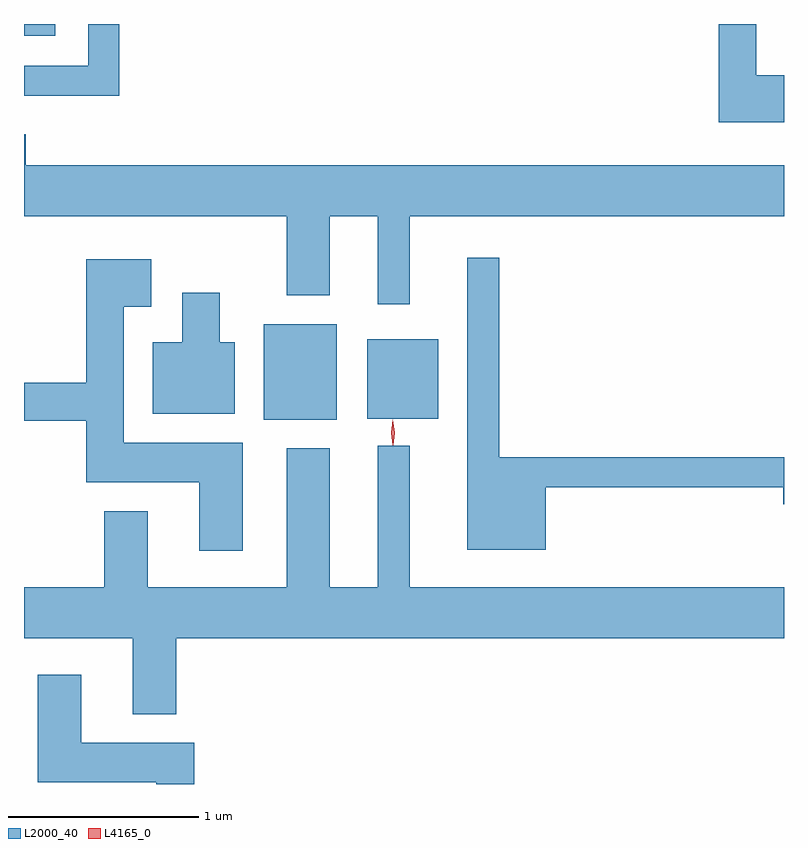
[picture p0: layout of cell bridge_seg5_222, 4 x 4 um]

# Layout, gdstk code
import gdstk
lib = gdstk.Library(unit=1e-6, precision=1e-09)
def R(c, l, rs):  # rectangles x0, y0, x1, y1
    for r in rs: c.add(gdstk.rectangle(r[:2], r[2:], *l))
def P(c, l, *ps):  # polygons
    for p in ps: c.add(gdstk.Polygon(p, *l))
L2000_40 = (2000, 40)
L4165_0 = (4165, 0)

bridge_seg5_222 = lib.new_cell('bridge_seg5_222')
R(bridge_seg5_222, L2000_40, [(1249.641,1400.226,1250.024,1400.729), (1250.186,1400.231,1250.559,1400.649), (1248.379,1402.246,1248.544,1402.308)])
P(bridge_seg5_222, L2000_40, [(1248.879,1402.308),(1248.716,1402.308),(1248.716,1402.089),(1248.379,1402.089),(1248.379,1401.931),(1248.879,1401.931)],
  [(1252.379,1402.039),(1252.234,1402.039),(1252.234,1402.308),(1252.036,1402.308),(1252.036,1401.791),(1252.379,1401.791)],
  [(1250.409,1401.296),(1252.379,1401.296),(1252.379,1401.564),(1248.389,1401.564),(1248.389,1401.729),(1248.379,1401.729),(1248.379,1401.296),(1249.761,1401.296),(1249.761,1400.881),(1249.989,1400.881),(1249.989,1401.296),(1250.241,1401.296),(1250.241,1400.833),(1250.409,1400.833)],
  [(1251.124,1399.871),(1252.376,1399.871),(1252.376,1399.781),(1252.379,1399.781),(1252.379,1400.029),(1250.879,1400.029),(1250.879,1401.078),(1250.711,1401.078),(1250.711,1399.541),(1251.124,1399.541)],
  [(1249.529,1400.104),(1248.904,1400.104),(1248.904,1400.821),(1249.049,1400.821),(1249.049,1401.069),(1248.706,1401.069),(1248.706,1400.419),(1248.379,1400.419),(1248.379,1400.221),(1248.706,1400.221),(1248.706,1399.896),(1249.301,1399.896),(1249.301,1399.536),(1249.529,1399.536)],
  [(1249.489,1400.634),(1249.409,1400.634),(1249.409,1400.894),(1249.211,1400.894),(1249.211,1400.634),(1249.056,1400.634),(1249.056,1400.256),(1249.489,1400.256)],
  [(1249.179,1399.076),(1252.379,1399.076),(1252.379,1399.344),(1250.409,1399.344),(1250.409,1400.088),(1250.241,1400.088),(1250.241,1399.344),(1249.989,1399.344),(1249.989,1400.074),(1249.761,1400.074),(1249.761,1399.344),(1249.029,1399.344),(1249.029,1399.744),(1248.801,1399.744),(1248.801,1399.344),(1248.379,1399.344),(1248.379,1399.076),(1248.951,1399.076),(1248.951,1398.676),(1249.179,1398.676)],
  [(1249.274,1398.524),(1248.679,1398.524),(1248.679,1398.884),(1248.451,1398.884),(1248.451,1398.316),(1249.076,1398.316),(1249.076,1398.308),(1249.274,1398.308)])
P(bridge_seg5_222, L4165_0, [(1250.321,1400.093),(1250.321,1400.093),(1250.311,1400.157),(1250.32,1400.221),(1250.321,1400.222),(1250.321,1400.221),(1250.331,1400.157),(1250.322,1400.093)],
  [(1250.321,1400.09),(1250.321,1400.09),(1250.311,1400.158),(1250.32,1400.225),(1250.32,1400.226),(1250.321,1400.225),(1250.331,1400.158),(1250.322,1400.09)])

lib.write_gds('bridge_seg5_222.gds')
